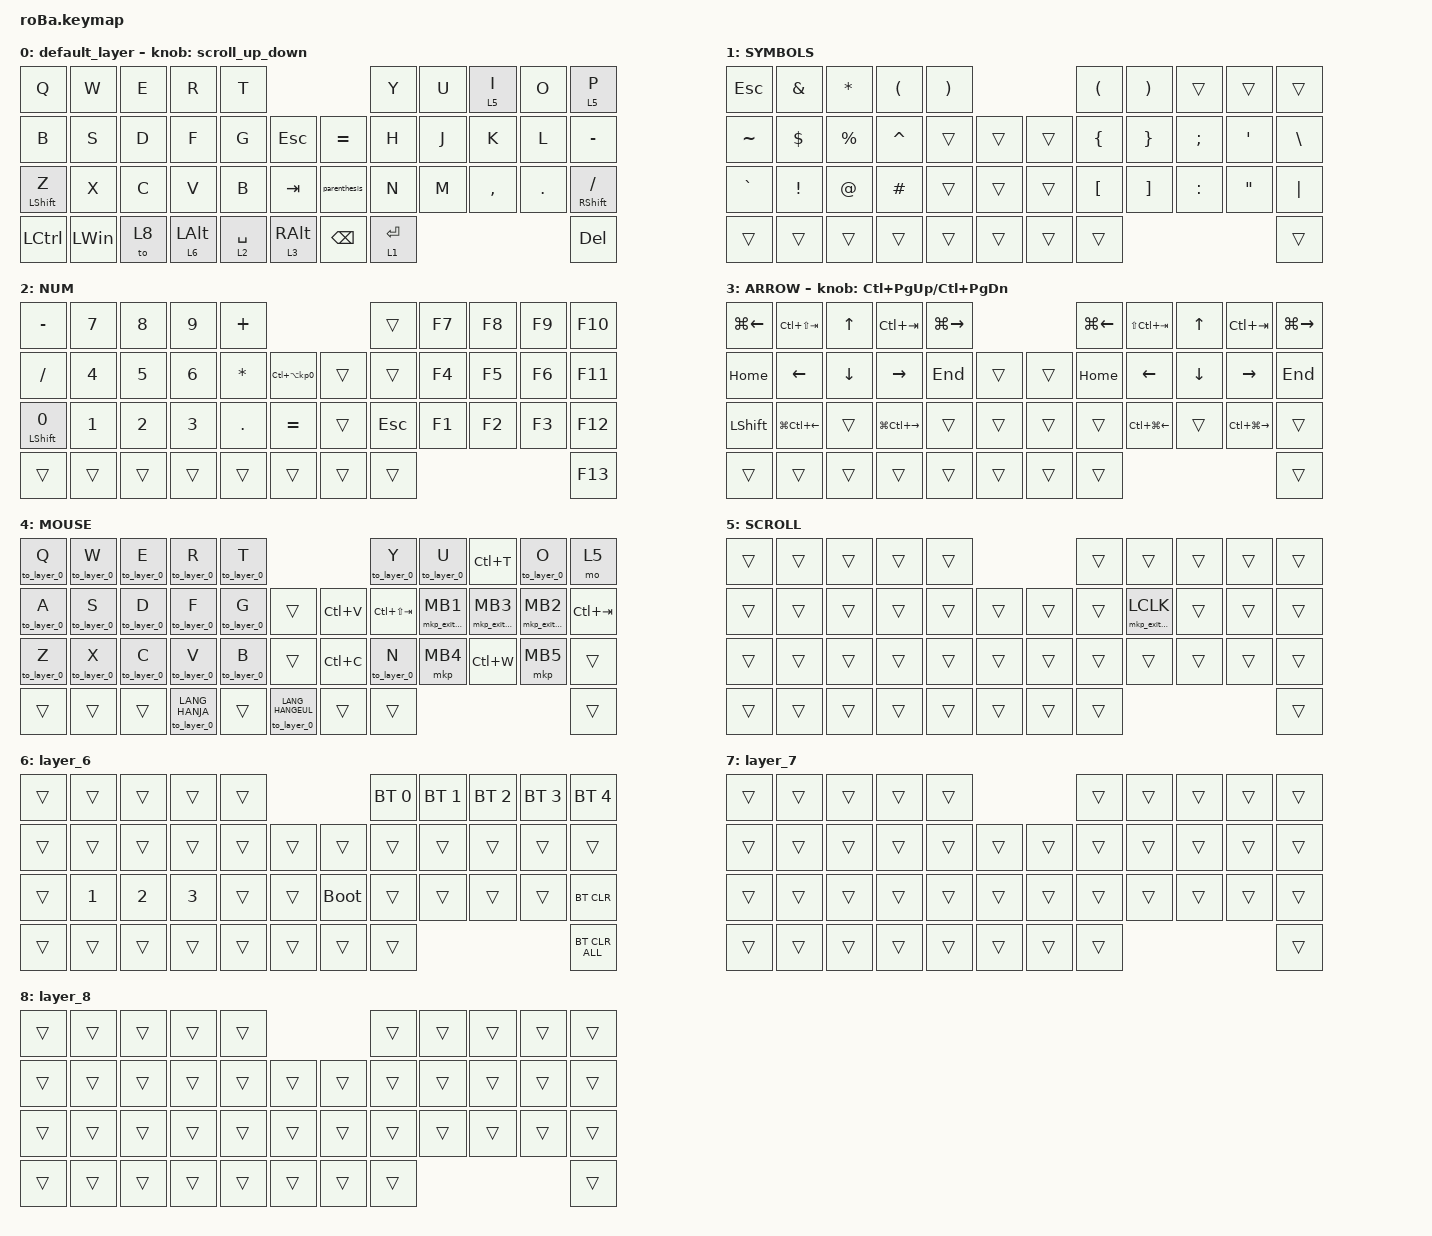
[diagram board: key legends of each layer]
#include <behaviors.dtsi>
#include <dt-bindings/zmk/bt.h>
#include <dt-bindings/zmk/keys.h>
#include <dt-bindings/zmk/pointing.h>

#define ZMK_POINTING_DEFAULT_SCRL_VAL 100
#define MOUSE 4
#define SCROLL 5
#define NUM 6

&mt {
    flavor = "hold-preferred";
    quick-tap-ms = <0>;
};

&sl { release-after-ms = <250>; };

/ {
    combos {
        compatible = "zmk,combos";

        BT0 {
            bindings = <&bt BT_SEL 0>;
            key-positions = <28 22>;
        };

        BT1 {
            bindings = <&bt BT_SEL 1>;
            key-positions = <28 23>;
        };

        BT2 {
            bindings = <&bt BT_SEL 2>;
            key-positions = <28 24>;
        };

        BT3 {
            bindings = <&none>;
            key-positions = <28 25>;
        };
    };

    macros {
        to_layer_0: to_layer_0 {
            compatible = "zmk,behavior-macro-one-param";
            #binding-cells = <1>;
            bindings = <&to 0 &macro_param_1to1 &kp MACRO_PLACEHOLDER>;
            label = "TO_LAYER_0";
        };

        mkp_exit_AML: mkp_exit_AML {
            compatible = "zmk,behavior-macro-one-param";
            #binding-cells = <1>;
            bindings =
                <&macro_press>,
                <&macro_param_1to1 &mkp MACRO_PLACEHOLDER>,
                <&macro_pause_for_release>,
                <&macro_release>,
                <&macro_param_1to1 &mkp MACRO_PLACEHOLDER>,
                <&macro_tap>,
                <&sl 4>;

            label = "MKP_EXIT_AML";
        };

        parenthesis: parenthesis {
            compatible = "zmk,behavior-macro";
            #binding-cells = <0>;
            bindings = <&kp LANG_HANJA &kp LEFT_PARENTHESIS &kp RIGHT_PARENTHESIS &kp LEFT_ARROW>;
            label = "parenthesis";
        };
    };

    behaviors {
        scroll_up_down: behavior_sensor_rotate_mouse_wheel_up_down {
            compatible = "zmk,behavior-sensor-rotate";
            #sensor-binding-cells = <0>;
            bindings = <&msc SCRL_DOWN>, <&msc SCRL_UP>;

            // 追加: スクロールのタップ時間を設定 (20ms)

            tap-ms = <20>;
        };

        multi_tap_tab_bspc: behavior_multi_tap {
            label = "MT_TAB_BSPC";
            #binding-cells = <0>;
            bindings = <&kp TAB>, <&kp BSPC>;

            max-taps = <2>;
            max-tap-interrupt-ms = <250>;
        };
    };

    keymap {
        compatible = "zmk,keymap";

        default_layer {
            bindings = <
&kp Q             &kp W         &kp E  &kp R       &kp T                                       &kp Y        &kp U  &lt 5 I    &kp O    &lt 5 P
&kp B             &kp S         &kp D  &kp F       &kp G        &kp ESCAPE      &kp EQUAL      &kp H        &kp J  &kp K      &kp L    &kp MINUS
&mt LEFT_SHIFT Z  &kp X         &kp C  &kp V       &kp B        &kp TAB         &parenthesis   &kp N        &kp M  &kp COMMA  &kp DOT  &mt RIGHT_SHIFT SLASH
&kp LCTRL         &kp LEFT_WIN  &to 8  &lt 6 LALT  &lt 2 SPACE  &lt 3 RALT      &kp BACKSPACE  &lt 1 ENTER                             &kp DEL
            >;

            sensor-bindings = <&scroll_up_down>;
        };

        SYMBOLS {
            bindings = <
&kp ESCAPE  &kp AMPERSAND    &kp ASTERISK  &kp LEFT_PARENTHESIS  &kp RIGHT_PARENTHESIS                      &kp LEFT_PARENTHESIS  &kp RIGHT_PARENTHESIS  &trans         &trans             &trans
&kp TILDE   &kp DOLLAR       &kp PERCENT   &kp CARET             &trans                 &trans      &trans  &kp LEFT_BRACE        &kp RIGHT_BRACE        &kp SEMICOLON  &kp SINGLE_QUOTE   &kp BACKSLASH
&kp GRAVE   &kp EXCLAMATION  &kp AT_SIGN   &kp HASH              &trans                 &trans      &trans  &kp LEFT_BRACKET      &kp RIGHT_BRACKET      &kp COLON      &kp DOUBLE_QUOTES  &kp PIPE
&trans      &trans           &trans        &trans                &trans                 &trans      &trans  &trans                                                                         &trans
            >;
        };

        NUM {
            bindings = <
&kp MINUS          &kp N7        &kp N8        &kp N9        &kp PLUS                                           &trans      &kp F7  &kp F8  &kp F9  &kp F10
&kp SLASH          &kp NUMBER_4  &kp N5        &kp NUMBER_6  &kp ASTERISK  &kp LC(LA(KP_NUMBER_0))      &trans  &trans      &kp F4  &kp F5  &kp F6  &kp F11
&mt LEFT_SHIFT N0  &kp NUMBER_1  &kp NUMBER_2  &kp NUMBER_3  &kp PERIOD    &kp EQUAL                    &trans  &kp ESCAPE  &kp F1  &kp F2  &kp F3  &kp F12
&trans             &trans        &trans        &trans        &trans        &trans                       &trans  &trans                              &kp F13
            >;
        };

        ARROW {
            bindings = <
&kp LG(LEFT_ARROW)  &kp LC(LS(TAB))         &kp UP_ARROW    &kp LC(TAB)              &kp LG(RIGHT_ARROW)                      &kp LG(LEFT_ARROW)  &kp LS(LC(TAB))         &kp UP_ARROW    &kp LC(TAB)              &kp LG(RIGHT_ARROW)
&kp HOME            &kp LEFT_ARROW          &kp DOWN_ARROW  &kp RIGHT_ARROW          &kp END              &trans      &trans  &kp HOME            &kp LEFT_ARROW          &kp DOWN_ARROW  &kp RIGHT_ARROW          &kp END
&kp LEFT_SHIFT      &kp LG(LC(LEFT_ARROW))  &trans          &kp LG(LC(RIGHT_ARROW))  &trans               &trans      &trans  &trans              &kp LC(LG(LEFT_ARROW))  &trans          &kp LC(LG(RIGHT_ARROW))  &trans
&trans              &trans                  &trans          &trans                   &trans               &trans      &trans  &trans                                                                               &trans
            >;

            sensor-bindings = <&inc_dec_kp LC(PAGE_UP) LC(PAGE_DOWN)>;
        };

        MOUSE {
            bindings = <
&to_layer_0 Q  &to_layer_0 W  &to_layer_0 E  &to_layer_0 R           &to_layer_0 T                                           &to_layer_0 Y    &to_layer_0 U      &kp LC(T)          &to_layer_0 O      &mo 5
&to_layer_0 A  &to_layer_0 S  &to_layer_0 D  &to_layer_0 F           &to_layer_0 G  &trans                        &kp LC(V)  &kp LC(LS(TAB))  &mkp_exit_AML MB1  &mkp_exit_AML MB3  &mkp_exit_AML MB2  &kp LC(TAB)
&to_layer_0 Z  &to_layer_0 X  &to_layer_0 C  &to_layer_0 V           &to_layer_0 B  &trans                        &kp LC(C)  &to_layer_0 N    &mkp MB4           &kp LC(W)          &mkp MB5           &trans
&trans         &trans         &trans         &to_layer_0 LANG_HANJA  &trans         &to_layer_0 LANG_HANGEUL      &trans     &trans                                                                    &trans
            >;
        };

        SCROLL {
            bindings = <
&trans  &trans  &trans  &trans  &trans                      &trans  &trans              &trans  &trans  &trans
&trans  &trans  &trans  &trans  &trans  &trans      &trans  &trans  &mkp_exit_AML LCLK  &trans  &trans  &trans
&trans  &trans  &trans  &trans  &trans  &trans      &trans  &trans  &trans              &trans  &trans  &trans
&trans  &trans  &trans  &trans  &trans  &trans      &trans  &trans                                      &trans
            >;
        };

        layer_6 {
            bindings = <
&trans  &trans        &trans        &trans        &trans                           &bt BT_SEL 0  &bt BT_SEL 1  &bt BT_SEL 2  &bt BT_SEL 3  &bt BT_SEL 4
&trans  &trans        &trans        &trans        &trans  &trans      &trans       &trans        &trans        &trans        &trans        &trans
&trans  &kp NUMBER_1  &kp NUMBER_2  &kp NUMBER_3  &trans  &trans      &bootloader  &trans        &trans        &trans        &trans        &bt BT_CLR
&trans  &trans        &trans        &trans        &trans  &trans      &trans       &trans                                                  &bt BT_CLR_ALL
            >;
        };

        layer_7 {
            bindings = <
&trans  &trans  &trans  &trans  &trans                      &trans  &trans  &trans  &trans  &trans
&trans  &trans  &trans  &trans  &trans  &trans      &trans  &trans  &trans  &trans  &trans  &trans
&trans  &trans  &trans  &trans  &trans  &trans      &trans  &trans  &trans  &trans  &trans  &trans
&trans  &trans  &trans  &trans  &trans  &trans      &trans  &trans                          &trans
            >;
        };

        layer_8 {
            bindings = <
&trans  &trans  &trans  &trans  &trans                      &trans  &trans  &trans  &trans  &trans
&trans  &trans  &trans  &trans  &trans  &trans      &trans  &trans  &trans  &trans  &trans  &trans
&trans  &trans  &trans  &trans  &trans  &trans      &trans  &trans  &trans  &trans  &trans  &trans
&trans  &trans  &trans  &trans  &trans  &trans      &trans  &trans                          &trans
            >;
        };
    };
};
